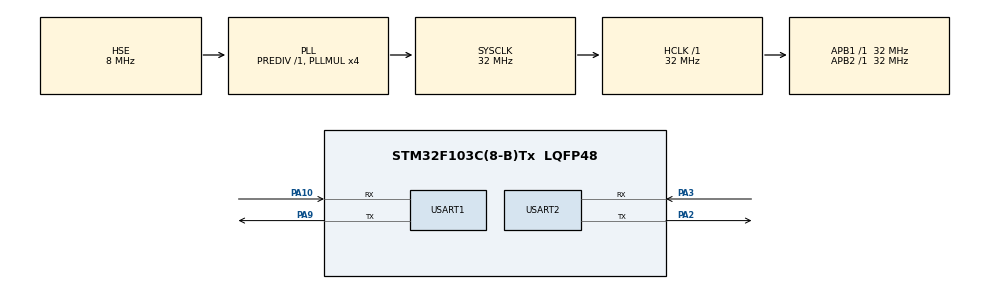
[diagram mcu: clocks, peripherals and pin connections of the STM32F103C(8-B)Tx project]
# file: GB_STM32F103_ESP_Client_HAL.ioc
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Mcu.Family=STM32F1
Mcu.Name=STM32F103C(8-B)Tx
Mcu.Package=LQFP48
NVIC.PriorityGroup=NVIC_PRIORITYGROUP_4
NVIC.USART1_IRQn=true\:1\:0\:true\:false\:true\:true\:true
NVIC.USART2_IRQn=true\:0\:0\:false\:false\:true\:true\:true
PA10.Mode=Asynchronous
PA10.Signal=USART1_RX
PA13.Mode=Serial_Wire
PA13.Signal=SYS_JTMS-SWDIO
PA14.Mode=Serial_Wire
PA14.Signal=SYS_JTCK-SWCLK
PA2.Mode=Asynchronous
PA2.Signal=USART2_TX
PA3.Mode=Asynchronous
PA3.Signal=USART2_RX
PA9.Mode=Asynchronous
PA9.Signal=USART1_TX
PD0-OSC_IN.Mode=HSE-External-Oscillator
PD0-OSC_IN.Signal=RCC_OSC_IN
PD1-OSC_OUT.Mode=HSE-External-Oscillator
PD1-OSC_OUT.Signal=RCC_OSC_OUT
ProjectManager.HeapSize=0x200
ProjectManager.StackSize=0x400
ProjectManager.TargetToolchain=STM32CubeIDE
RCC.AHBFreq_Value=32000000
RCC.APB1Freq_Value=32000000
RCC.APB1TimFreq_Value=32000000
RCC.APB2Freq_Value=32000000
RCC.APB2TimFreq_Value=32000000
RCC.HCLKFreq_Value=32000000
RCC.PLLMUL=RCC_PLL_MUL4
RCC.PLLSourceVirtual=RCC_PLLSOURCE_HSE
RCC.SYSCLKFreq_VALUE=32000000
RCC.SYSCLKSource=RCC_SYSCLKSOURCE_PLLCLK
RCC.USBFreq_Value=32000000
USART1.VirtualMode=VM_ASYNC
USART2.VirtualMode=VM_ASYNC
board=custom

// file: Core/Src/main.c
/* USER CODE BEGIN Header */
/**
  ******************************************************************************
  * @file           : main.c
  * @brief          : Main program body
  ******************************************************************************
  * @attention
  *
  * Copyright (c) 2022 STMicroelectronics.
  * All rights reserved.
  *
  * This software is licensed under terms that can be found in the LICENSE file
  * in the root directory of this software component.
  * If no LICENSE file comes with this software, it is provided AS-IS.
  *
  ******************************************************************************
  */
/* USER CODE END Header */
#include "main.h"
#include "GB_ESP8266_Basic.h"
#include "GB_ESP8266_client.h"

UART_HandleTypeDef huart1;
UART_HandleTypeDef huart2;

/* USER CODE BEGIN PV */
uint8_t dec = 9;

uint8_t str[10] = "KunalGupta";
/* USER CODE END PV */

void SystemClock_Config(void);
static void MX_GPIO_Init(void);
static void MX_USART1_UART_Init(void);
static void MX_USART2_UART_Init(void);

/* USER CODE BEGIN 0 */

//  const char gb_urlpath[100] ="/data/2.5/weather?q=delhi&appid=885e9149105e8901c9809ac018ce8658";
//  const char gb_url[100] = "api.openweathermap.org";
  const char gb_urlpath[100] ="/update?api_key=K86PTN9OPANWW8MF&field1";
  const char gb_url[100] = "api.thingspeak.com";
/* USER CODE END 0 */

int main(void)
{

  /* MCU Configuration--------------------------------------------------------*/

  /* Reset of all peripherals, Initializes the Flash interface and the Systick. */
  HAL_Init();

  /* Configure the system clock */
  SystemClock_Config();

  /* Initialize all configured peripherals */
  MX_GPIO_Init();
  //Terminal
  MX_USART1_UART_Init();

  //ESP8266
  MX_USART2_UART_Init();
  /* USER CODE BEGIN 2 */

  //enable RXNE interrupts on USART2 SIDE
 	USART2->CR1 |= USART_CR1_RXNEIE;
  __NVIC_EnableIRQ(USART2_IRQn);
  __NVIC_SetPriority (USART2_IRQn, 1);

  HAL_UART_Transmit(&huart1,(uint8_t *)"****ESP8266 as client******",27, 100);

  //Initialise ESP8266 module
  GB_esp8266_initialise_client();
  uint8_t gb_t = 90;
  /* USER CODE END 2 */
  /* Infinite loop */
  while (1)
  {

    /* USER CODE BEGIN 3 */

	  GB_esp8266_connectTCPserver(gb_url,80);
	  GB_esp8266_cipsendint(gb_t,gb_urlpath);
	  GB_esp8266_tcpgetcommandint(gb_urlpath,gb_t);
	  gb_t++;

  	  HAL_Delay(1000);
  }
  /* USER CODE END 3 */
}

void SystemClock_Config(void)
{
  RCC_OscInitTypeDef RCC_OscInitStruct = {0};
  RCC_ClkInitTypeDef RCC_ClkInitStruct = {0};

  /** Initializes the RCC Oscillators according to the specified parameters
  * in the RCC_OscInitTypeDef structure.
  */
  RCC_OscInitStruct.OscillatorType = RCC_OSCILLATORTYPE_HSE;
  RCC_OscInitStruct.HSEState = RCC_HSE_ON;
  RCC_OscInitStruct.HSEPredivValue = RCC_HSE_PREDIV_DIV1;
  RCC_OscInitStruct.HSIState = RCC_HSI_ON;
  RCC_OscInitStruct.PLL.PLLState = RCC_PLL_ON;
  RCC_OscInitStruct.PLL.PLLSource = RCC_PLLSOURCE_HSE;
  RCC_OscInitStruct.PLL.PLLMUL = RCC_PLL_MUL4;
  if (HAL_RCC_OscConfig(&RCC_OscInitStruct) != HAL_OK)
  {
    Error_Handler();
  }
  /** Initializes the CPU, AHB and APB buses clocks
  */
  RCC_ClkInitStruct.ClockType = RCC_CLOCKTYPE_HCLK|RCC_CLOCKTYPE_SYSCLK
                              |RCC_CLOCKTYPE_PCLK1|RCC_CLOCKTYPE_PCLK2;
  RCC_ClkInitStruct.SYSCLKSource = RCC_SYSCLKSOURCE_PLLCLK;
  RCC_ClkInitStruct.AHBCLKDivider = RCC_SYSCLK_DIV1;
  RCC_ClkInitStruct.APB1CLKDivider = RCC_HCLK_DIV1;
  RCC_ClkInitStruct.APB2CLKDivider = RCC_HCLK_DIV1;

  if (HAL_RCC_ClockConfig(&RCC_ClkInitStruct, FLASH_LATENCY_1) != HAL_OK)
  {
    Error_Handler();
  }
}

static void MX_USART1_UART_Init(void)
{

  huart1.Instance = USART1;
  huart1.Init.BaudRate = 115200;
  huart1.Init.WordLength = UART_WORDLENGTH_8B;
  huart1.Init.StopBits = UART_STOPBITS_1;
  huart1.Init.Parity = UART_PARITY_NONE;
  huart1.Init.Mode = UART_MODE_TX_RX;
  huart1.Init.HwFlowCtl = UART_HWCONTROL_NONE;
  huart1.Init.OverSampling = UART_OVERSAMPLING_16;
  if (HAL_UART_Init(&huart1) != HAL_OK)
  {
    Error_Handler();
  }

}

static void MX_USART2_UART_Init(void)
{

  huart2.Instance = USART2;
  huart2.Init.BaudRate = 115200;
  huart2.Init.WordLength = UART_WORDLENGTH_8B;
  huart2.Init.StopBits = UART_STOPBITS_1;
  huart2.Init.Parity = UART_PARITY_NONE;
  huart2.Init.Mode = UART_MODE_TX_RX;
  huart2.Init.HwFlowCtl = UART_HWCONTROL_NONE;
  huart2.Init.OverSampling = UART_OVERSAMPLING_16;
  if (HAL_UART_Init(&huart2) != HAL_OK)
  {
    Error_Handler();
  }

}

static void MX_GPIO_Init(void)
{

  /* GPIO Ports Clock Enable */
  __HAL_RCC_GPIOD_CLK_ENABLE();
  __HAL_RCC_GPIOA_CLK_ENABLE();

}

void Error_Handler(void)
{
  __disable_irq();
  while (1)
  {
  }
}
